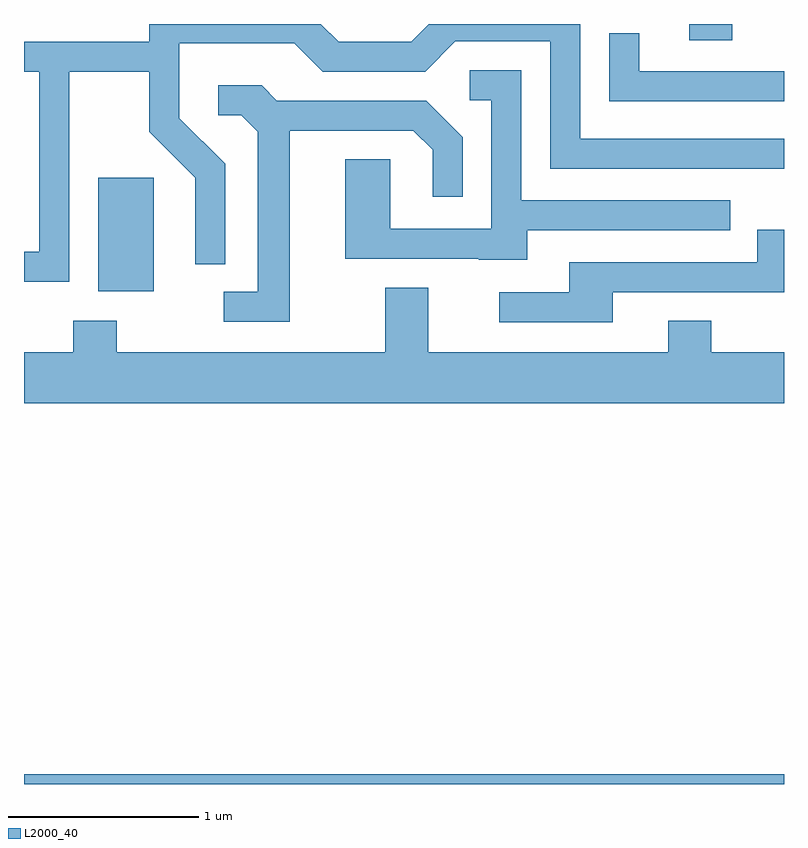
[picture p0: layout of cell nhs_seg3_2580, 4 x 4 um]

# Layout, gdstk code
import gdstk
lib = gdstk.Library(unit=1e-6, precision=1e-09)
def R(c, l, rs):  # rectangles x0, y0, x1, y1
    for r in rs: c.add(gdstk.rectangle(r[:2], r[2:], *l))
def P(c, l, *ps):  # polygons
    for p in ps: c.add(gdstk.Polygon(p, *l))
L2000_40 = (2000, 40)

nhs_seg3_2580 = lib.new_cell('nhs_seg3_2580')
R(nhs_seg3_2580, L2000_40, [(259.611,1243.892,263.611,1243.944), (260.001,1246.486,260.294,1247.084), (263.111,1247.806,263.339,1247.892)])
P(nhs_seg3_2580, L2000_40, [(259.849,1247.641),(260.271,1247.641),(260.271,1247.324),(260.511,1247.084),(260.511,1246.628),(260.669,1246.628),(260.669,1247.157),(260.429,1247.397),(260.429,1247.791),(261.034,1247.791),(261.183,1247.641),(261.722,1247.641),(261.882,1247.801),(262.381,1247.801),(262.381,1247.131),(263.611,1247.131),(263.611,1247.289),(262.539,1247.289),(262.539,1247.892),(261.741,1247.892),(261.649,1247.799),(261.267,1247.799),(261.173,1247.892),(260.271,1247.892),(260.271,1247.799),(259.611,1247.799),(259.611,1247.641),(259.691,1247.641),(259.691,1246.694),(259.611,1246.694),(259.611,1246.536),(259.849,1246.536)],
  [(263.611,1247.644),(262.849,1247.644),(262.849,1247.843),(262.691,1247.843),(262.691,1247.486),(263.611,1247.486)],
  [(262.259,1246.806),(263.328,1246.806),(263.328,1246.964),(262.229,1246.964),(262.229,1247.649),(261.957,1247.649),(261.957,1247.491),(262.071,1247.491),(262.071,1246.814),(261.539,1246.814),(261.539,1247.179),(261.301,1247.179),(261.301,1246.656),(262.005,1246.656),(262.005,1246.651),(262.259,1246.651)],
  [(261.009,1247.331),(261.659,1247.331),(261.761,1247.229),(261.761,1246.983),(261.919,1246.983),(261.919,1247.297),(261.727,1247.489),(260.942,1247.489),(260.861,1247.569),(260.633,1247.569),(260.633,1247.411),(260.754,1247.411),(260.841,1247.324),(260.841,1246.484),(260.663,1246.484),(260.663,1246.326),(261.009,1246.326)],
  [(262.709,1246.481),(263.611,1246.481),(263.611,1246.809),(263.471,1246.809),(263.471,1246.639),(262.481,1246.639),(262.481,1246.479),(262.113,1246.479),(262.113,1246.321),(262.709,1246.321)],
  [(263.611,1246.164),(263.229,1246.164),(263.229,1246.329),(263.001,1246.329),(263.001,1246.164),(261.739,1246.164),(261.739,1246.504),(261.511,1246.504),(261.511,1246.164),(260.099,1246.164),(260.099,1246.329),(259.871,1246.329),(259.871,1246.164),(259.611,1246.164),(259.611,1245.896),(263.611,1245.896)])

lib.write_gds('nhs_seg3_2580.gds')
